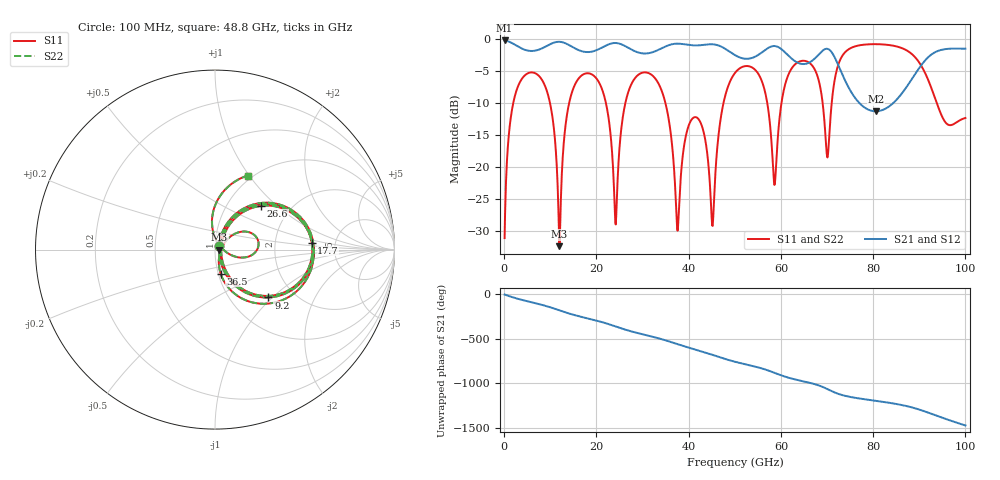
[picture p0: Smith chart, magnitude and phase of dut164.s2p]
! Touchstone file exported from HFSS 2026.1.0
!  File:  C:/ffzhzh/LocalFiles/Ansys_Project_Files/temp_test_TSV_RDL_164_1783465954_28540.aedt
!  Generated:  07:54:44 AM Jul  8, 2026
!  Design:  TSV_RDL
!  Project:  temp_test_TSV_RDL_164_1783465954_28540
! Variables:
!  h_bsmrdl = 2.81um
!  h_ox = 20um
!  h_rdl = 5um
!  h_sub = 94.81um
!  h_tmrdl = 4.84um
!  h_tsv = 94.81um
!  h_via = 3um
!  l_bsmrdl = 572.01um
!  l_sub = 4946.74um
!  l_tmrdl = 673.83um
!  m_sub = 200um
!  pitch = 55.47um
!  r_tsv = 9.21um
!  s_tmrdl = 10um
!  w_bsmrdl = 20.01um
!  w_sub = 500um
!  w_tmrdl = 25.12um
!  x_tsv_center1 = 686.39um
!  x_tsv_center2 = 1278.41um
!  x_tsv_center3 = 1977.36um
!  x_tsv_center4 = 2569.38um
!  x_tsv_center5 = 3268.33um
!  x_tsv_center6 = 3860.35um
# GHz S MA R 50.000000
! Terminal data exported
! Port[1] = TM_RDL1_1_T1
! Port[2] = TM_RDL5_1_T1
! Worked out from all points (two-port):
!   1000 points, 100 MHz to 100 GHz, reference 50 ohm
!   highest |S21| = -0.18 dB at 100 MHz (marker M1); lowest = -11.3 dB at 80.6 GHz (marker M2)
!   |S21| within 3 dB of the highest: start of sweep to 62.59 GHz; 91.42 GHz to end of sweep (the widest 2 of 3)
!   lowest |S11| = -32.4 dB at 12 GHz (marker M3), VSWR 1.05, Z = 52.4 - j0.0207 ohm
!   |S11| at or under -10 dB: 22.07 GHz to 26.27 GHz (4.209 GHz wide, 17.4 % of centre); 34.97 GHz to 47.55 GHz (12.58 GHz wide, 30.5 % of centre); 93.8 GHz to end of sweep (the widest 3 of 7)
!   |S22| runs from -32.4 to -0.8 dB; largest |S21 - S12| = 7.3e-14
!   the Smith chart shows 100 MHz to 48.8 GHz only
!   S11 on the Smith chart (normalised r, x): 100 MHz: 1.04, +0.04; 9.2 GHz: 1.49, -0.95; 17.7 GHz: 3.31, +0.36; 26.6 GHz: 1.43, +0.80; 36.5 GHz: 1.03, -0.28; 48.8 GHz: 0.95, +0.98
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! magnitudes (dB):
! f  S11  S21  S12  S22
! 100 MHz  -31.2  -0.2  -0.2  -31.2
! 2.8 GHz  -7.8  -1.0  -1.0  -7.8
! 9.2 GHz  -8.0  -1.1  -1.1  -8.0
! 12 GHz  -32.4  -0.4  -0.4  -32.4
! 16.8 GHz  -5.7  -1.9  -1.9  -5.7
! 17.7 GHz  -5.3  -2.0  -2.0  -5.3
! 24.1 GHz  -28.7  -0.6  -0.6  -28.8
! 26.6 GHz  -9.0  -1.2  -1.2  -9.0
! 33.4 GHz  -6.9  -1.7  -1.7  -6.9
! 36.5 GHz  -17.3  -0.8  -0.8  -17.3
! 37.6 GHz  -30.0  -0.7  -0.7  -30.0
! 42.2 GHz  -12.6  -0.9  -0.9  -12.6
! 45.2 GHz  -29.3  -0.8  -0.8  -29.1
! 48.8 GHz  -6.9  -1.9  -1.9  -6.9
! 50.1 GHz  -5.2  -2.5  -2.5  -5.2
! 58.6 GHz  -22.8  -1.0  -1.0  -22.8
! 66.7 GHz  -4.0  -3.4  -3.4  -4.0
! 70.1 GHz  -18.5  -1.5  -1.5  -18.5
! 73 GHz  -3.0  -5.0  -5.0  -3.0
! 80.6 GHz  -0.8  -11.3  -11.3  -0.8
! 83.4 GHz  -0.9  -10.5  -10.5  -0.9
! 100 GHz  -12.3  -1.5  -1.5  -12.3
